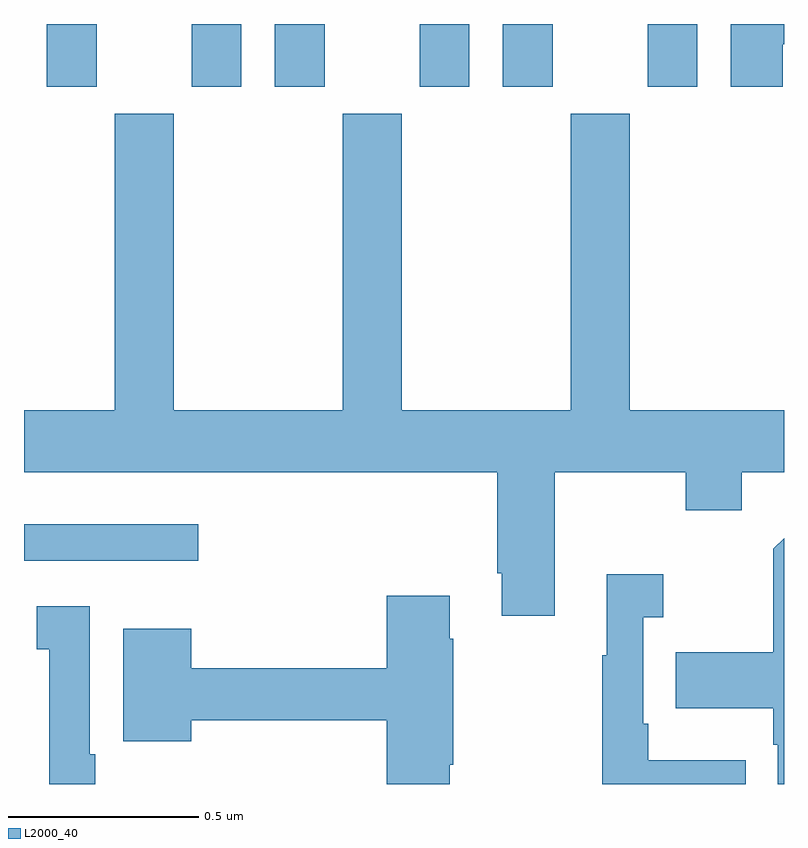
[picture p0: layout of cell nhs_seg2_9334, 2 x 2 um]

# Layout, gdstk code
import gdstk
lib = gdstk.Library(unit=1e-6, precision=1e-09)
def R(c, l, rs):  # rectangles x0, y0, x1, y1
    for r in rs: c.add(gdstk.rectangle(r[:2], r[2:], *l))
def P(c, l, *ps):  # polygons
    for p in ps: c.add(gdstk.Polygon(p, *l))
L2000_40 = (2000, 40)

nhs_seg2_9334 = lib.new_cell('nhs_seg2_9334')
R(nhs_seg2_9334, L2000_40, [(227,663.387,227.458,663.484), (227.06,664.635,227.191,664.8), (227.441,664.635,227.572,664.8), (227.66,664.635,227.791,664.8), (228.041,664.635,228.172,664.8), (228.26,664.635,228.391,664.8), (228.641,664.635,228.772,664.8)])
P(nhs_seg2_9334, L2000_40, [(228.997,664.747),(229,664.747),(229,664.8),(228.86,664.8),(228.86,664.635),(228.997,664.635)],
  [(228.397,663.62),(228.742,663.62),(228.742,663.521),(228.889,663.521),(228.889,663.62),(229,663.62),(229,663.784),(228.594,663.784),(228.594,664.564),(228.439,664.564),(228.439,663.784),(227.994,663.784),(227.994,664.564),(227.839,664.564),(227.839,663.784),(227.394,663.784),(227.394,664.564),(227.239,664.564),(227.239,663.784),(227,663.784),(227,663.62),(228.245,663.62),(228.245,663.355),(228.257,663.355),(228.257,663.243),(228.397,663.243)],
  [(229,663.447),(228.972,663.419),(228.972,663.147),(228.715,663.147),(228.715,662.999),(228.972,662.999),(228.972,662.903),(228.984,662.903),(228.984,662.8),(229,662.8)],
  [(228.899,662.863),(228.643,662.863),(228.643,662.959),(228.63,662.959),(228.63,663.239),(228.682,663.239),(228.682,663.352),(228.533,663.352),(228.533,663.139),(228.522,663.139),(228.522,662.8),(228.899,662.8)],
  [(228.121,662.851),(228.129,662.851),(228.129,663.182),(228.121,663.182),(228.121,663.295),(227.954,663.295),(227.954,663.104),(227.44,663.104),(227.44,663.208),(227.261,663.208),(227.261,662.912),(227.44,662.912),(227.44,662.968),(227.954,662.968),(227.954,662.8),(228.121,662.8)],
  [(227.188,662.878),(227.173,662.878),(227.173,663.268),(227.033,663.268),(227.033,663.155),(227.066,663.155),(227.066,662.8),(227.188,662.8)])

lib.write_gds('nhs_seg2_9334.gds')
